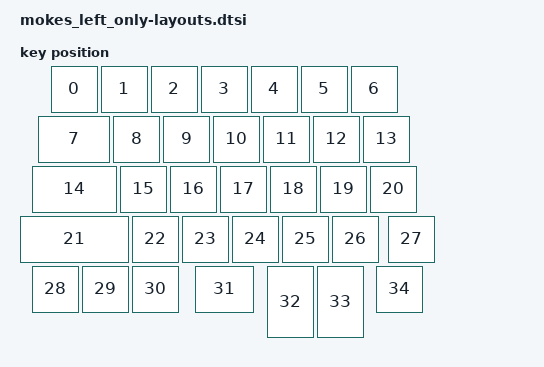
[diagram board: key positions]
// See https://zmk.dev/docs/development/hardware-integration/physical-layouts
// for how to configure this.

#include <physical_layouts.dtsi>

/ {
    default_layout: default_layout {
        compatible = "zmk,physical-layout";
        display-name = "Default Layout";
        transform = <&default_transform>;
        keys  //                     w   h    x    y     rot    rx    ry
            = <&key_physical_attrs 100 100   62    0       0     0     0>
            , <&key_physical_attrs 100 100  162    0       0     0     0>
            , <&key_physical_attrs 100 100  262    0       0     0     0>
            , <&key_physical_attrs 100 100  362    0       0     0     0>
            , <&key_physical_attrs 100 100  462    0       0     0     0>
            , <&key_physical_attrs 100 100  562    0       0     0     0>
            , <&key_physical_attrs 100 100  662    0       0     0     0>
            , <&key_physical_attrs 150 100   37  100       0     0     0>
            , <&key_physical_attrs 100 100  187  100       0     0     0>
            , <&key_physical_attrs 100 100  287  100       0     0     0>
            , <&key_physical_attrs 100 100  387  100       0     0     0>
            , <&key_physical_attrs 100 100  487  100       0     0     0>
            , <&key_physical_attrs 100 100  587  100       0     0     0>
            , <&key_physical_attrs 100 100  687  100       0     0     0>
            , <&key_physical_attrs 175 100   25  200       0     0     0>
            , <&key_physical_attrs 100 100  200  200       0     0     0>
            , <&key_physical_attrs 100 100  300  200       0     0     0>
            , <&key_physical_attrs 100 100  400  200       0     0     0>
            , <&key_physical_attrs 100 100  500  200       0     0     0>
            , <&key_physical_attrs 100 100  600  200       0     0     0>
            , <&key_physical_attrs 100 100  700  200       0     0     0>
            , <&key_physical_attrs 225 100    0  300       0     0     0>
            , <&key_physical_attrs 100 100  225  300       0     0     0>
            , <&key_physical_attrs 100 100  325  300       0     0     0>
            , <&key_physical_attrs 100 100  425  300       0     0     0>
            , <&key_physical_attrs 100 100  525  300       0     0     0>
            , <&key_physical_attrs 100 100  625  300       0     0     0>
            , <&key_physical_attrs 100 100  737  300       0     0     0>
            , <&key_physical_attrs 100 100   25  400       0     0     0>
            , <&key_physical_attrs 100 100  125  400       0     0     0>
            , <&key_physical_attrs 100 100  225  400       0     0     0>
            , <&key_physical_attrs 125 100  350  400       0     0     0>
            , <&key_physical_attrs 100 150  494  400       0     0     0>
            , <&key_physical_attrs 100 150  594  400       0     0     0>
            , <&key_physical_attrs 100 100  713  400       0     0     0>
            ;
    };
    
    position_map {
        compatible = "zmk,physical-layout-position-map";

        default_layout {
            physical-layout = <&default_layout>;
            positions
                = < 0  1  2  3  4  5  6 >
                , < 7  8  9 10 11 12 13 >
                , <14 15 16 17 18 19 20 >
                , <21 22 23 24 25 26 27 >
                , <28 29 30 31 32 33 34 >;
        };
    };

};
